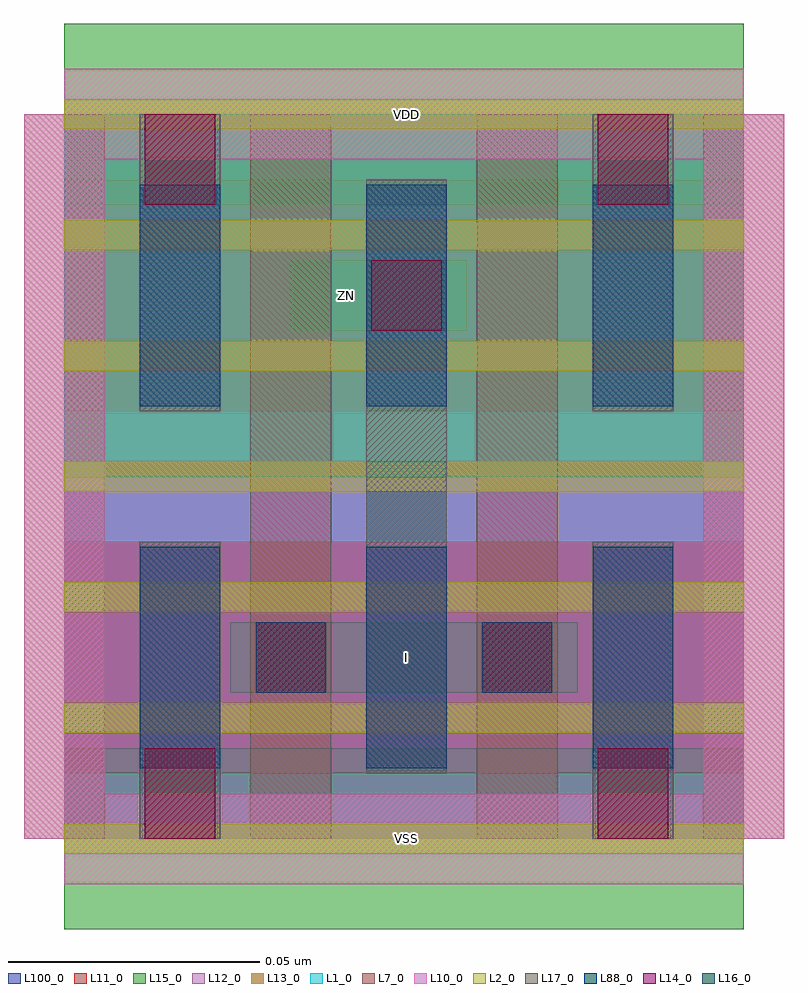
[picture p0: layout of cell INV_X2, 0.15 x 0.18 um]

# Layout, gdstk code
import gdstk
lib = gdstk.Library(unit=1e-6, precision=1e-09)
def R(c, l, rs):  # rectangles x0, y0, x1, y1
    for r in rs: c.add(gdstk.rectangle(r[:2], r[2:], *l))
def A(c, l, x, y, w, h, nx, ny, dx, dy):  # array of equal rectangles
    R(c, l, [(x+i*dx, y+j*dy, x+i*dx+w, y+j*dy+h) for i in range(nx) for j in range(ny)])
def P(c, l, *ps):  # polygons
    for p in ps: c.add(gdstk.Polygon(p, *l))
L1_0 = (1, 0)
L2_0 = (2, 0)
L7_0 = (7, 0)
L10_0 = (10, 0)
L11_0 = (11, 0)
L12_0 = (12, 0)
L13_0 = (13, 0)
L14_0 = (14, 0)
L15_0 = (15, 0)
L16_0 = (16, 0)
L17_0 = (17, 0)
L88_0 = (88, 0)
L100_0 = (100, 0)

inv_x2 = lib.new_cell('INV_X2')
R(inv_x2, L1_0, [(0,0.072,0.135,0.144)])
A(inv_x2, L2_0, 0, -0.003, 0.135, 0.006, 1, 7, 0, 0.024)
A(inv_x2, L7_0, -0.008, 0, 0.016, 0.144, 4, 1, 0.045, 0)
P(inv_x2, L10_0, [(0,-0.009),(0,0),(-0.008,0),(-0.008,0.135),(0.008,0.135),(0.008,0.009),(0.127,0.009),(0.127,0.135),(-0.008,0.135),(-0.008,0.144),(0,0.144),(0,0.153),(0.135,0.153),(0.135,0.144),(0.143,0.144),(0.143,0),(0.135,0),(0.135,-0.009)])
R(inv_x2, L11_0, [(0,0.013,0.135,0.059), (0,0.085,0.135,0.131)])
R(inv_x2, L12_0, [(0,0,0.135,0.072)])
R(inv_x2, L13_0, [(0,0.072,0.135,0.144)])
R(inv_x2, L14_0, [(0.016,0,0.03,0.018), (0.106,0,0.12,0.018), (0.038,0.029,0.052,0.043), (0.083,0.029,0.097,0.043), (0.061,0.101,0.075,0.115), (0.016,0.126,0.03,0.144), (0.106,0.126,0.12,0.144)])
R(inv_x2, L15_0, [(0,-0.018,0.135,0.018), (0.033,0.029,0.102,0.043), (0.045,0.101,0.08,0.115), (0,0.126,0.135,0.162)])
R(inv_x2, L16_0, [(0.038,0.029,0.052,0.043), (0.083,0.029,0.097,0.043)])
R(inv_x2, L17_0, [(0.015,0,0.031,0.059), (0.105,0,0.121,0.059), (0.06,0.013,0.076,0.131), (0.015,0.085,0.031,0.144), (0.105,0.085,0.121,0.144)])
A(inv_x2, L88_0, 0.015, 0.014, 0.016, 0.044, 3, 2, 0.045, 0.072)
R(inv_x2, L100_0, [(0,0,0.135,0.144)])
inv_x2.add(gdstk.Label('ZN', (0.056,0.108), layer=15, texttype=251))
inv_x2.add(gdstk.Label('VSS', (0.068,0), layer=15, texttype=251))
inv_x2.add(gdstk.Label('VDD', (0.068,0.144), layer=15, texttype=251))
inv_x2.add(gdstk.Label('I', (0.068,0.036), layer=15, texttype=251))
inv_x2.add(gdstk.Label('VSS', (0.068,0), layer=15, texttype=251))
inv_x2.add(gdstk.Label('VDD', (0.068,0.144), layer=15, texttype=251))
inv_x2.add(gdstk.Label('VSS', (0.068,0), layer=3, texttype=251))
inv_x2.add(gdstk.Label('VSS', (0.068,0), layer=3, texttype=251))
inv_x2.add(gdstk.Label('VDD', (0.068,0.144), layer=1, texttype=251))
inv_x2.add(gdstk.Label('VDD', (0.068,0.144), layer=1, texttype=251))

lib.write_gds('INV_X2.gds')
